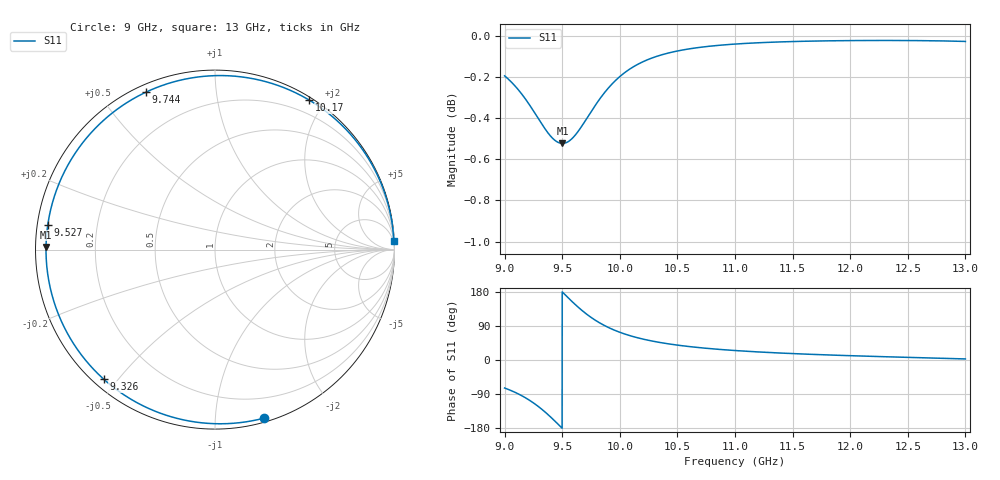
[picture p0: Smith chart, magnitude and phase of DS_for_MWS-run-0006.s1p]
! TOUCHSTONE file generated by CST DESIGN STUDIO
! Date and time: Tue Feb  4 14:16:01 2025
! Project name: C:\Work\MatlabApps\UnitCellOptimizationMatlab\CST\unitcell.cst
! Tree item: Tasks\Sweep1\SPara1\S-Parameters
! Header version: 2024
! Port assignment regex: !\s*Touchstone port\s*([0-9]+)\s*=\s*(CST MWS port|CST DES external port|CST DES block port)\s*(.+)\s* \(\"(.*)\"\)(\s*mode\s*([0-9]+))?.*
! Touchstone port assignment:
! Touchstone port 1 = CST DES external port 1 ("")
# GHz S MA R 50
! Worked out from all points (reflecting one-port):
!   4001 points, 9 GHz to 13 GHz, reference 50 ohm
!   lowest |S11| = -0.5 dB at 9.502 GHz (marker M1), VSWR 33.24, Z = 1.5 + j0.371 ohm
!   phase of S11 starts at -74 deg and turns -283 deg over the sweep
!   S11 on the Smith chart (normalised r, x): 9 GHz: 0.03, -1.33; 9.326 GHz: 0.03, -0.46; 9.527 GHz: 0.03, +0.07; 9.744 GHz: 0.03, +0.65; 10.17 GHz: 0.03, +1.81; 13 GHz: 3, +41
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9  0.9779 -73.9
9.087  0.9726 -84.8
9.189  0.9646 -101.2
9.26  0.958 -115.3
9.326  0.9516 -130.7
9.372  0.9475 -142.8
9.421  0.9441 -156.6
9.461  0.9422 -168.5
9.5  0.9416 179.8
9.502  0.9416 179.1
9.527  0.9418 171.6
9.58  0.9438 155.8
9.64  0.9481 139.0
9.691  0.9527 126.0
9.744  0.9578 113.8
9.796  0.9627 103.3
9.854  0.9677 93.1
9.926  0.973 82.3
10  0.9775 73.2
10.166  0.9845 57.8
10.318  0.9886 47.9
10.5  0.9916 39.3
10.722  0.9938 31.7
11  0.9954 25.0
11.5  0.9968 16.9
12  0.9974 11.4
12.5  0.9974 6.9
13  0.9969 2.8
